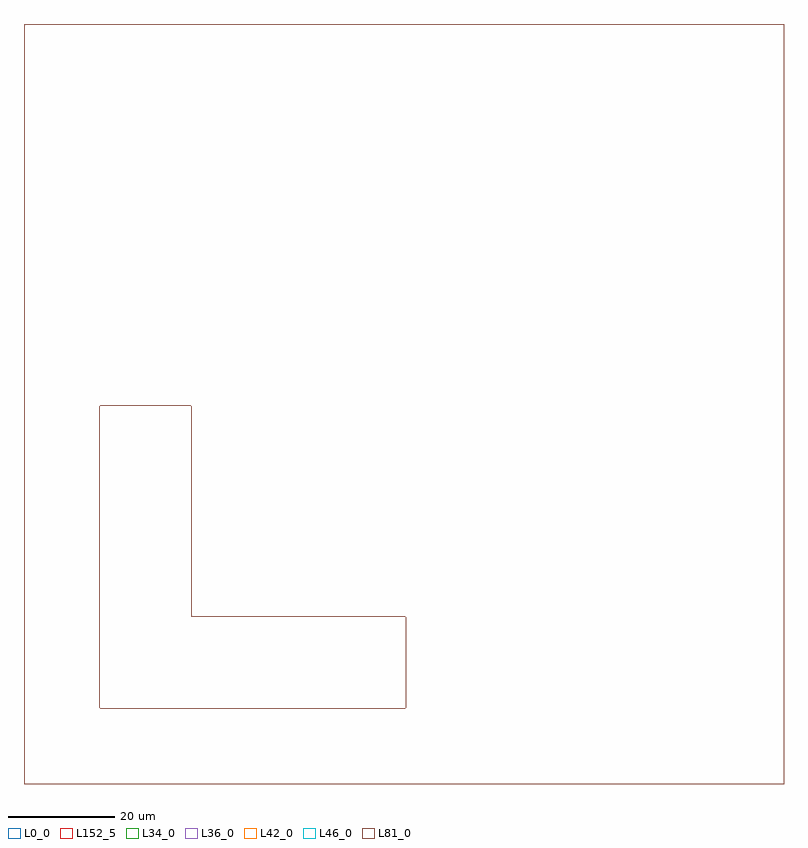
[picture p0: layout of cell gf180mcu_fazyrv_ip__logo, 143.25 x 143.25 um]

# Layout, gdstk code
import gdstk
lib = gdstk.Library(unit=1e-6, precision=1e-09)
def R(c, l, rs):  # rectangles x0, y0, x1, y1
    for r in rs: c.add(gdstk.rectangle(r[:2], r[2:], *l))
def P(c, l, *ps):  # polygons
    for p in ps: c.add(gdstk.Polygon(p, *l))
L0_0 = (0, 0)
L34_0 = (34, 0)
L36_0 = (36, 0)
L42_0 = (42, 0)
L46_0 = (46, 0)
L81_0 = (81, 0)
L152_5 = (152, 5)

gf180mcu_fazyrv_ip__logo = lib.new_cell('gf180mcu_fazyrv_ip__logo')
R(gf180mcu_fazyrv_ip__logo, L0_0, [(0,0,143.25,143.25)])
P(gf180mcu_fazyrv_ip__logo, L34_0, [(0,0),(0,71.25),(14.25,71.25),(14.25,14.25),(72,14.25),(72,31.5),(31.5,31.5),(31.5,71.25),(0,71.25),(0,143.25),(143.25,143.25),(143.25,0)])
P(gf180mcu_fazyrv_ip__logo, L36_0, [(0,0),(0,71.25),(14.25,71.25),(14.25,14.25),(72,14.25),(72,31.5),(31.5,31.5),(31.5,71.25),(0,71.25),(0,143.25),(143.25,143.25),(143.25,0)])
P(gf180mcu_fazyrv_ip__logo, L42_0, [(0,0),(0,71.25),(14.25,71.25),(14.25,14.25),(72,14.25),(72,31.5),(31.5,31.5),(31.5,71.25),(0,71.25),(0,143.25),(143.25,143.25),(143.25,0)])
P(gf180mcu_fazyrv_ip__logo, L46_0, [(0,0),(0,71.25),(14.25,71.25),(14.25,14.25),(72,14.25),(72,31.5),(31.5,31.5),(31.5,71.25),(0,71.25),(0,143.25),(143.25,143.25),(143.25,0)])
P(gf180mcu_fazyrv_ip__logo, L81_0, [(0,0),(0,71.25),(14.25,71.25),(14.25,14.25),(72,14.25),(72,31.5),(31.5,31.5),(31.5,71.25),(0,71.25),(0,143.25),(143.25,143.25),(143.25,0)])
R(gf180mcu_fazyrv_ip__logo, L152_5, [(0,0,143.25,143.25)])

lib.write_gds('gf180mcu_fazyrv_ip__logo.gds')
